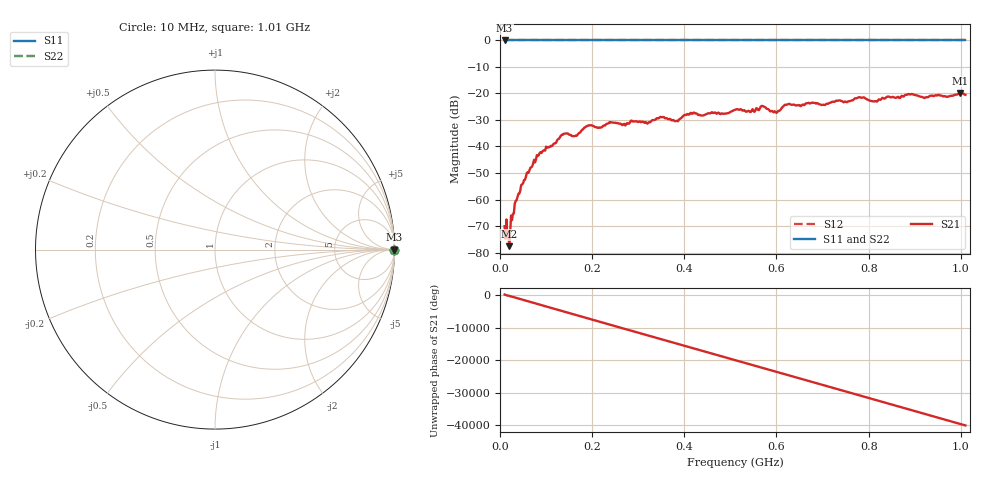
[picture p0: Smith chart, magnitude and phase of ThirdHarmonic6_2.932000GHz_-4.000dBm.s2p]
! 8/17/2025 8:11:24 AM
! C:\ANRITSUVNA\TEMP\TEMP.S2P
! CHANNEL.1
! TR.MEASUREMENT
! RAW.DATA
! RF.CORRECTION.OFF
! AVERAGING.OFF
! IF.BANDWIDTH: 5KHZ
! SWEEPTYPE:  FREQ.SWEEP(Linear)
! Reference Plane Port Info
! PORT:  PORT1  PORT2
! DISTANCE:  0  m  0  m
! TIME:  0  s  0  s
! PHASE.OFFSET:  0  deg.  0  deg.
! LOSS:  0  dB  0  dB
! REF.LOSS:  0  dB  0  dB
! REF.FREQ:  0  Hz  0  Hz
! Power Info
! POWER:  -20  dBm  -20  dBm
! EFF.POWER:  -20  dBm  -20  dBm
! SOURCE.ATTEN:  0  dB  0  dB
! TEST.ATTEN:  0  dB  0  dB
# GHZ S RI R 50.0
! FREQ.GHZ  S11RE  S11IM  S21RE  S21IM  S12RE  S12IM  S22RE  S22IM
!; PortSelection: Port_12
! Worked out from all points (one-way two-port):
!   501 points, 10 MHz to 1.01 GHz, reference 50 ohm
!   highest |S21| = -19.77 dB at 998 MHz (marker M1); lowest = -77.6 dB at 20 MHz (marker M2)
!   lowest |S11| = 0.0 dB at 10 MHz (marker M3)
!   |S11| at or under -10 dB: nowhere
!   |S22| runs from 0.0 to 0.0 dB; largest |S21 - S12| = 1.1
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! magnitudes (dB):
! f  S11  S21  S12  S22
! 10 MHz  0.0  -70.1  0.0  0.0
! 16 MHz  0.0  -74.5  0.0  0.0
! 20 MHz  0.0  -77.6  0.0  0.0
! 36 MHz  0.0  -60.3  0.0  0.0
! 56 MHz  0.0  -51.6  0.0  0.0
! 84 MHz  0.0  -43.3  0.0  0.0
! 136 MHz  0.0  -35.6  0.0  0.0
! 162 MHz  0.0  -36.1  0.0  0.0
! 178 MHz  0.0  -33.7  0.0  0.0
! 194 MHz  0.0  -32.0  0.0  0.0
! 322 MHz  0.0  -31.0  0.0  0.0
! 344 MHz  0.0  -29.4  0.0  0.0
! 382 MHz  0.0  -30.4  0.0  0.0
! 416 MHz  0.0  -27.6  0.0  0.0
! 510 MHz  0.0  -26.1  0.0  0.0
! 570 MHz  0.0  -24.7  0.0  0.0
! 598 MHz  0.0  -27.0  0.0  0.0
! 622 MHz  0.0  -24.3  0.0  0.0
! 678 MHz  0.0  -23.4  0.0  0.0
! 844 MHz  0.0  -21.2  0.0  0.0
! 998 MHz  0.0  -19.8  0.0  0.0
! 1.01 GHz  0.0  -20.5  0.0  0.0
